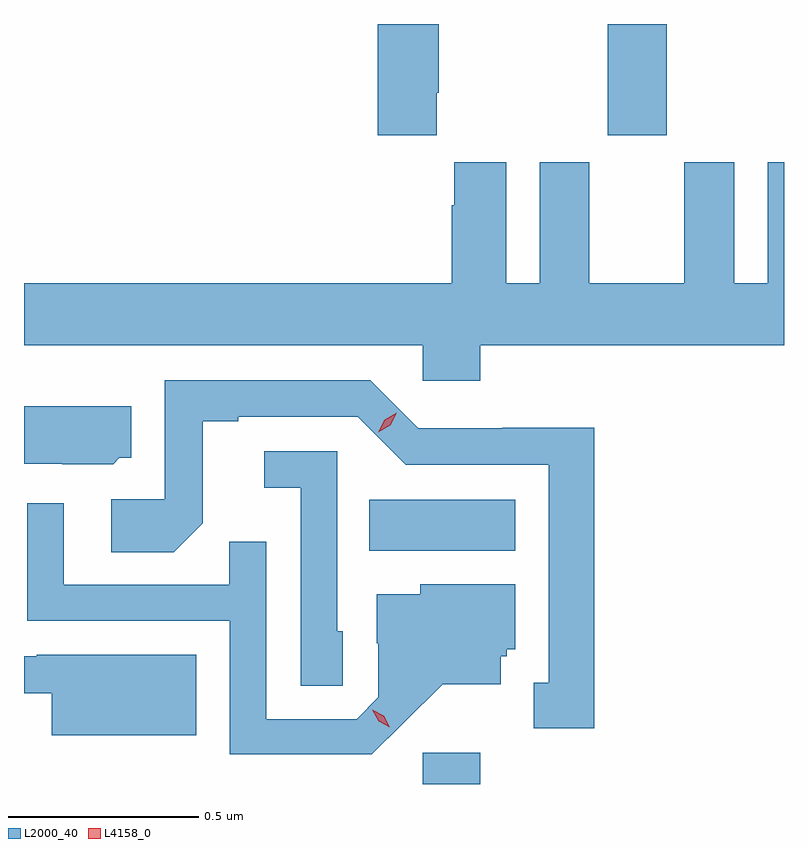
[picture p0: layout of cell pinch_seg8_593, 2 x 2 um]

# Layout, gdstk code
import gdstk
lib = gdstk.Library(unit=1e-6, precision=1e-09)
def R(c, l, rs):  # rectangles x0, y0, x1, y1
    for r in rs: c.add(gdstk.rectangle(r[:2], r[2:], *l))
def P(c, l, *ps):  # polygons
    for p in ps: c.add(gdstk.Polygon(p, *l))
L2000_40 = (2000, 40)
L4158_0 = (4158, 0)

pinch_seg8_593 = lib.new_cell('pinch_seg8_593')
R(pinch_seg8_593, L2000_40, [(149.052,1084.71,149.204,1084.792), (148.912,1085.324,149.296,1085.458), (149.539,1086.417,149.694,1086.71)])
P(pinch_seg8_593, L2000_40, [(149.089,1086.529),(149.094,1086.529),(149.094,1086.71),(148.934,1086.71),(148.934,1086.417),(149.089,1086.417)],
  [(149.204,1085.864),(150.003,1085.864),(150.003,1086.346),(149.96,1086.346),(149.96,1086.028),(149.872,1086.028),(149.872,1086.346),(149.741,1086.346),(149.741,1086.028),(149.491,1086.028),(149.491,1086.346),(149.36,1086.346),(149.36,1086.028),(149.272,1086.028),(149.272,1086.346),(149.135,1086.346),(149.135,1086.233),(149.129,1086.233),(149.129,1086.028),(148.003,1086.028),(148.003,1085.864),(149.052,1085.864),(149.052,1085.771),(149.204,1085.771)],
  [(149.503,1085.648),(149.262,1085.648),(149.262,1085.646),(149.04,1085.646),(148.914,1085.772),(148.374,1085.772),(148.374,1085.46),(148.233,1085.46),(148.233,1085.32),(148.397,1085.32),(148.473,1085.396),(148.473,1085.664),(148.567,1085.664),(148.567,1085.676),(148.881,1085.676),(149.007,1085.55),(149.384,1085.55),(149.384,1084.977),(149.345,1084.977),(149.345,1084.857),(149.503,1084.857)],
  [(148.254,1085.568),(148.285,1085.568),(148.285,1085.704),(148.003,1085.704),(148.003,1085.553),(148.104,1085.553),(148.104,1085.552),(148.238,1085.552)],
  [(148.842,1085.112),(148.827,1085.112),(148.827,1085.586),(148.635,1085.586),(148.635,1085.489),(148.731,1085.489),(148.731,1084.969),(148.842,1084.969)],
  [(149.002,1084.871),(149.105,1084.973),(149.257,1084.973),(149.257,1085.046),(149.274,1085.046),(149.274,1085.064),(149.296,1085.064),(149.296,1085.236),(149.046,1085.236),(149.046,1085.209),(148.931,1085.209),(148.931,1085.08),(148.935,1085.08),(148.935,1084.938),(148.878,1084.881),(148.641,1084.881),(148.641,1085.348),(148.543,1085.348),(148.543,1085.235),(148.107,1085.235),(148.107,1085.449),(148.011,1085.449),(148.011,1085.139),(148.545,1085.139),(148.545,1084.788),(148.918,1084.788)],
  [(148.456,1085.05),(148.036,1085.05),(148.036,1085.046),(148.003,1085.046),(148.003,1084.949),(148.076,1084.949),(148.076,1084.838),(148.456,1084.838)])
P(pinch_seg8_593, L4158_0, [(148.935,1085.636),(148.935,1085.636),(148.952,1085.668),(148.984,1085.687),(148.984,1085.687),(148.984,1085.687),(148.967,1085.654),(148.935,1085.636)],
  [(148.966,1084.859),(148.936,1084.875),(148.919,1084.905),(148.919,1084.905),(148.919,1084.905),(148.95,1084.889),(148.966,1084.86),(148.966,1084.859)])

lib.write_gds('pinch_seg8_593.gds')
